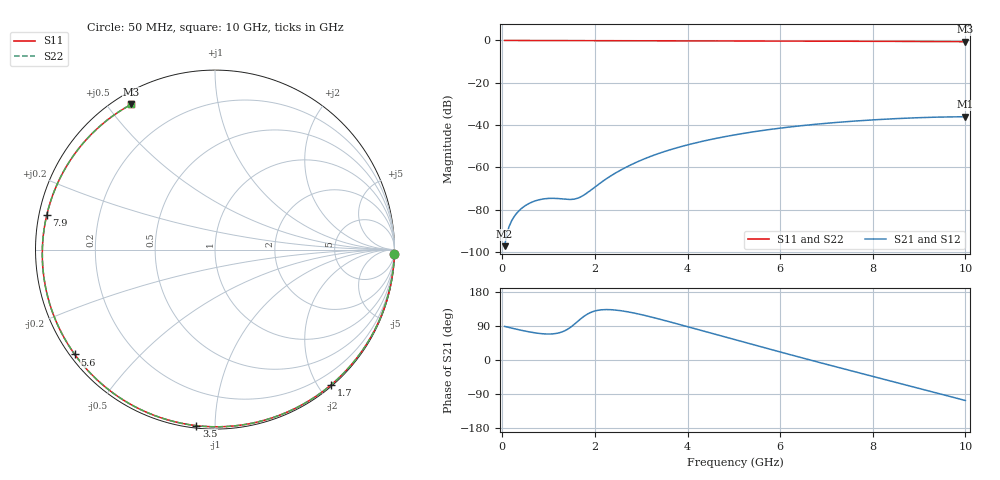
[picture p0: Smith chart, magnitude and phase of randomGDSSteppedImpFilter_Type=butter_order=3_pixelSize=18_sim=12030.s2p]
! freq	dB(S11)	phase(S11)	dB(S12)	phase(S12)
!  dB(S21)	phase(S21)	dB(S22)	phase(S22)
!S-par simulation data
#  GHz  S  DB  R 50
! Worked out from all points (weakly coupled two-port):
!   200 points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, 50 MHz to 10 GHz, reference 50 ohm
!   highest |S21| = -36.08 dB at 10 GHz (marker M1); lowest = -97.2 dB at 50 MHz (marker M2)
!   lowest |S11| = -0.6 dB at 10 GHz (marker M3), VSWR 29.27, Z = 2.28 + j28.9 ohm
!   |S11| at or under -10 dB: nowhere
!   |S22| runs from -0.6 to 0.0 dB; largest |S21 - S12| = 0
!   S11 on the Smith chart (normalised r, x): 50 MHz: 0, -76; 1.7 GHz: 0.02, -2.17; 3.5 GHz: 0.01, -0.90; 5.6 GHz: 0.01, -0.33; 7.9 GHz: 0.02, +0.10; 10 GHz: 0.05, +0.58
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0.05  -0.00 -1.5  -97.25 88.7  -97.25 88.7  -0.00 -1.5
0.35  -0.01 -10.4  -80.73 80.0  -80.73 80.0  -0.01 -10.4
0.6  -0.02 -17.8  -76.82 73.8  -76.82 73.8  -0.02 -17.8
0.85  -0.03 -25.1  -75.06 69.5  -75.06 69.5  -0.03 -25.1
1.1  -0.04 -32.4  -74.62 69.1  -74.62 69.1  -0.04 -32.4
1.5  -0.05 -43.8  -75.13 88.8  -75.13 88.8  -0.05 -43.8
1.7  -0.06 -49.4  -73.87 109.3  -73.87 109.3  -0.06 -49.4
1.75  -0.06 -50.8  -73.25 114.0  -73.25 114.0  -0.06 -50.8
2.25  -0.08 -64.4  -65.35 133.1  -65.35 133.1  -0.08 -64.4
2.55  -0.09 -72.3  -61.36 130.2  -61.36 130.2  -0.09 -72.3
2.95  -0.10 -82.5  -57.06 121.2  -57.06 121.2  -0.10 -82.5
3.4  -0.12 -93.7  -53.25 107.7  -53.25 107.7  -0.12 -93.7
3.5  -0.12 -96.1  -52.52 104.5  -52.52 104.5  -0.12 -96.1
4.25  -0.15 -113.6  -48.03 79.6  -48.03 79.6  -0.15 -113.6
5.05  -0.18 -131.4  -44.51 52.8  -44.51 52.8  -0.18 -131.4
5.6  -0.21 -143.2  -42.62 34.4  -42.62 34.4  -0.21 -143.2
6.7  -0.29 -166.3  -39.76 -1.7  -39.76 -1.7  -0.29 -166.3
7.3  -0.33 -178.8  -38.61 -21.0  -38.61 -21.0  -0.33 -178.8
7.9  -0.38 168.4  -37.69 -40.1  -37.69 -40.1  -0.38 168.4
8.35  -0.42 158.6  -37.12 -54.3  -37.12 -54.3  -0.42 158.6
9.15  -0.50 140.5  -36.39 -79.7  -36.39 -79.7  -0.50 140.5
10  -0.59 119.9  -36.08 -106.9  -36.08 -106.9  -0.59 119.9
